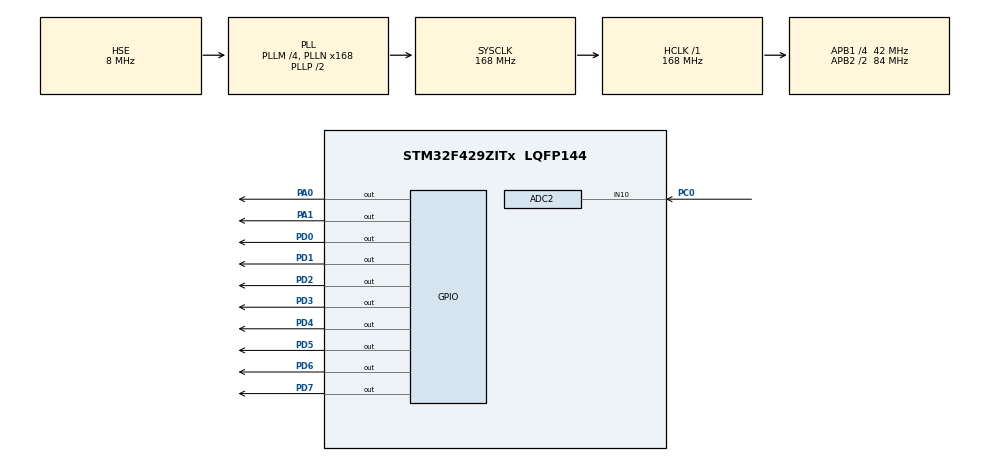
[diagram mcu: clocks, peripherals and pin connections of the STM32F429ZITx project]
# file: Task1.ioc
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ADC2.Channel-1\#ChannelRegularConversion=ADC_CHANNEL_10
ADC2.ContinuousConvMode=ENABLE
ADC2.InjNumberOfConversion=0
ADC2.NbrOfConversion=1
ADC2.NbrOfConversionFlag=1
ADC2.Rank-1\#ChannelRegularConversion=1
ADC2.SamplingTime-1\#ChannelRegularConversion=ADC_SAMPLETIME_3CYCLES
Mcu.Family=STM32F4
Mcu.Name=STM32F429ZITx
Mcu.Package=LQFP144
NVIC.ADC_IRQn=true\:0\:0\:false\:false\:true\:true\:true
NVIC.PriorityGroup=NVIC_PRIORITYGROUP_4
PA0/WKUP.GPIO_Speed=GPIO_SPEED_FREQ_VERY_HIGH
PA0/WKUP.Signal=GPIO_Output
PA1.GPIO_Speed=GPIO_SPEED_FREQ_VERY_HIGH
PA1.Signal=GPIO_Output
PC0.Signal=ADCx_IN10
PD0.Signal=GPIO_Output
PD1.Signal=GPIO_Output
PD2.Signal=GPIO_Output
PD3.Signal=GPIO_Output
PD4.Signal=GPIO_Output
PD5.Signal=GPIO_Output
PD6.Signal=GPIO_Output
PD7.Signal=GPIO_Output
PH0/OSC_IN.Mode=HSE-External-Oscillator
PH0/OSC_IN.Signal=RCC_OSC_IN
PH1/OSC_OUT.Mode=HSE-External-Oscillator
PH1/OSC_OUT.Signal=RCC_OSC_OUT
ProjectManager.HeapSize=0x200
ProjectManager.StackSize=0x400
ProjectManager.TargetToolchain=EWARM V8.32
RCC.48MHZClocksFreq_Value=84000000
RCC.AHBFreq_Value=168000000
RCC.APB1CLKDivider=RCC_HCLK_DIV4
RCC.APB1Freq_Value=42000000
RCC.APB1TimFreq_Value=84000000
RCC.APB2CLKDivider=RCC_HCLK_DIV2
RCC.APB2Freq_Value=84000000
RCC.APB2TimFreq_Value=168000000
RCC.CortexFreq_Value=168000000
RCC.HCLKFreq_Value=168000000
RCC.HSE_VALUE=8000000
RCC.HSI_VALUE=16000000
RCC.LSE_VALUE=32768
RCC.PLLM=4
RCC.PLLN=168
RCC.PLLSourceVirtual=RCC_PLLSOURCE_HSE
RCC.SYSCLKFreq_VALUE=168000000
RCC.SYSCLKSource=RCC_SYSCLKSOURCE_PLLCLK
RCC.VCOOutputFreq_Value=336000000
SH.ADCx_IN10.0=ADC2_IN10,IN10
board=custom

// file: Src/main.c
/* USER CODE BEGIN Header */
/**
  ******************************************************************************
  * @file           : main.c
  * @brief          : Main program body
  ******************************************************************************
  * @attention
  *
  * <h2><center>&copy; Copyright (c) 2020 STMicroelectronics.
  * All rights reserved.</center></h2>
  *
  * This software component is licensed by ST under BSD 3-Clause license,
  * the "License"; You may not use this file except in compliance with the
  * License. You may obtain a copy of the License at:
  *                        opensource.org/licenses/BSD-3-Clause
  *
  ******************************************************************************
  */
/* USER CODE END Header */

#include "main.h"

ADC_HandleTypeDef hadc2;

void SystemClock_Config(void);
static void MX_GPIO_Init(void);
static void MX_ADC2_Init(void);

/* USER CODE BEGIN 0 */
void command(char i)
{
 GPIOD-> ODR = i; //put data on output Port
 HAL_GPIO_WritePin(GPIOA,GPIO_PIN_0, GPIO_PIN_RESET); // D/I=LOW : send instruction
 HAL_GPIO_WritePin(GPIOA,GPIO_PIN_1, GPIO_PIN_SET); // E-> HIGH
 HAL_Delay(1);
 HAL_GPIO_WritePin(GPIOA,GPIO_PIN_1, GPIO_PIN_RESET); // E-> LOW
}
/**********************************************************/
void write(char i)
{
 GPIOD-> ODR = i; //put data on output Port
 HAL_GPIO_WritePin(GPIOA,GPIO_PIN_0, GPIO_PIN_SET); // D/I=high : send data
 HAL_GPIO_WritePin(GPIOA,GPIO_PIN_1, GPIO_PIN_SET); // E-> HIGH
 HAL_Delay(1);
 HAL_GPIO_WritePin(GPIOA,GPIO_PIN_1, GPIO_PIN_RESET); // E-> LOW
}
/**********************************************************/
void init()
{
 HAL_GPIO_WritePin(GPIOA,GPIO_PIN_1, GPIO_PIN_RESET); // E-> LOW
 HAL_Delay(100); //Wait >40 msec after power is applied
 command(0x30); //command 0x30 = Wake up
 HAL_Delay(30); //must wait 5ms, busy flag not available
 command(0x30); //command 0x30 = Wake up #2
 HAL_Delay(10); //must wait 160us, busy flag not available
 command(0x30); //command 0x30 = Wake up #3
 HAL_Delay(10); //must wait 160us, busy flag not available
 command(0x38); //Function set: 8-bit/2-line
 HAL_Delay(10); //must wait 160us, busy flag not available
 command(0x10); //Set cursor
 HAL_Delay(10); //must wait 160us, busy flag not available
 command(0x0c); //Display ON; Cursor ON
 HAL_Delay(10); //must wait 160us, busy flag not available
 command(0x06); //Entry mode set
}
void clear(void) {
 GPIOD->ODR = 0x0000;
 HAL_GPIO_WritePin(GPIOA,GPIO_PIN_0, GPIO_PIN_SET); // D/I=high : send data
 HAL_GPIO_WritePin(GPIOA,GPIO_PIN_1, GPIO_PIN_SET); // E-> HIGH
 HAL_Delay(1);
 HAL_GPIO_WritePin(GPIOA,GPIO_PIN_1, GPIO_PIN_RESET); // E-> LOW
}
/**********************************************************/
void write_string(char *display_string) {
  clear();
  uint8_t flag = 0;
  for(uint8_t i = 0; i < 16; i++){
    if(flag == 0){
      write(display_string[i]);
    }
    else {
      write(0x00);
    }
    if(display_string[i] == '\0'){
      flag = 1;
    }
  }
}
/* USER CODE END 0 */

int main(void)
{

  /* MCU Configuration--------------------------------------------------------*/

  /* Reset of all peripherals, Initializes the Flash interface and the Systick. */
  HAL_Init();

  /* Configure the system clock */
  SystemClock_Config();

  /* Initialize all configured peripherals */
  MX_GPIO_Init();
  MX_ADC2_Init();
  /* USER CODE BEGIN 2 */
  init();
  write_string("Lab8\0");
  HAL_Delay(200);
  clear();
  /* USER CODE END 2 */

  /* Infinite loop */
  /* USER CODE BEGIN WHILE */
  while (1)
  {

  char data_array[4] = { 0x30, 0x30, 0x30, '\0' };
  for(uint8_t i = 0; i < 10; i++) {
    if(data_array[0] == 0x3A) {
      data_array[0] = 0x30;
    }
    for(uint8_t j = 0; j < 10; j++) {
      if(data_array[1] == 0x3A) {
      data_array[1] = 0x30;
      }
      for(uint8_t k = 0; k < 10; k++) {
        if(data_array[2] == 0x3A) {
          data_array[2] = 0x30;
        }
        //write_string(data_array);
        write(data_array[2]);
        data_array[2]++;
        HAL_Delay(1000); // 1 second delay

        if(data_array[0] == 0x32 && data_array[1] == 0x31 && data_array[2] == 0x32){
          return;
        }
        clear();
      }
      write(data_array[1]);
      data_array[1]++;
    }
    write(data_array[0]);
    data_array[0]++;
  }
    /* USER CODE END WHILE */

  }
}

void SystemClock_Config(void)
{
  RCC_OscInitTypeDef RCC_OscInitStruct = {0};
  RCC_ClkInitTypeDef RCC_ClkInitStruct = {0};

  /** Configure the main internal regulator output voltage
  */
  __HAL_RCC_PWR_CLK_ENABLE();
  __HAL_PWR_VOLTAGESCALING_CONFIG(PWR_REGULATOR_VOLTAGE_SCALE1);
  /** Initializes the CPU, AHB and APB busses clocks
  */
  RCC_OscInitStruct.OscillatorType = RCC_OSCILLATORTYPE_HSE;
  RCC_OscInitStruct.HSEState = RCC_HSE_ON;
  RCC_OscInitStruct.PLL.PLLState = RCC_PLL_ON;
  RCC_OscInitStruct.PLL.PLLSource = RCC_PLLSOURCE_HSE;
  RCC_OscInitStruct.PLL.PLLM = 4;
  RCC_OscInitStruct.PLL.PLLN = 168;
  RCC_OscInitStruct.PLL.PLLP = RCC_PLLP_DIV2;
  RCC_OscInitStruct.PLL.PLLQ = 4;
  if (HAL_RCC_OscConfig(&RCC_OscInitStruct) != HAL_OK)
  {
    Error_Handler();
  }
  /** Initializes the CPU, AHB and APB busses clocks
  */
  RCC_ClkInitStruct.ClockType = RCC_CLOCKTYPE_HCLK|RCC_CLOCKTYPE_SYSCLK
                              |RCC_CLOCKTYPE_PCLK1|RCC_CLOCKTYPE_PCLK2;
  RCC_ClkInitStruct.SYSCLKSource = RCC_SYSCLKSOURCE_PLLCLK;
  RCC_ClkInitStruct.AHBCLKDivider = RCC_SYSCLK_DIV1;
  RCC_ClkInitStruct.APB1CLKDivider = RCC_HCLK_DIV4;
  RCC_ClkInitStruct.APB2CLKDivider = RCC_HCLK_DIV2;

  if (HAL_RCC_ClockConfig(&RCC_ClkInitStruct, FLASH_LATENCY_5) != HAL_OK)
  {
    Error_Handler();
  }
}

static void MX_ADC2_Init(void)
{

  ADC_ChannelConfTypeDef sConfig = {0};

  /** Configure the global features of the ADC (Clock, Resolution, Data Alignment and number of conversion)
  */
  hadc2.Instance = ADC2;
  hadc2.Init.ClockPrescaler = ADC_CLOCK_SYNC_PCLK_DIV4;
  hadc2.Init.Resolution = ADC_RESOLUTION_12B;
  hadc2.Init.ScanConvMode = DISABLE;
  hadc2.Init.ContinuousConvMode = ENABLE;
  hadc2.Init.DiscontinuousConvMode = DISABLE;
  hadc2.Init.ExternalTrigConvEdge = ADC_EXTERNALTRIGCONVEDGE_NONE;
  hadc2.Init.ExternalTrigConv = ADC_SOFTWARE_START;
  hadc2.Init.DataAlign = ADC_DATAALIGN_RIGHT;
  hadc2.Init.NbrOfConversion = 1;
  hadc2.Init.DMAContinuousRequests = DISABLE;
  hadc2.Init.EOCSelection = ADC_EOC_SINGLE_CONV;
  if (HAL_ADC_Init(&hadc2) != HAL_OK)
  {
    Error_Handler();
  }
  /** Configure for the selected ADC regular channel its corresponding rank in the sequencer and its sample time.
  */
  sConfig.Channel = ADC_CHANNEL_10;
  sConfig.Rank = 1;
  sConfig.SamplingTime = ADC_SAMPLETIME_3CYCLES;
  if (HAL_ADC_ConfigChannel(&hadc2, &sConfig) != HAL_OK)
  {
    Error_Handler();
  }

}

static void MX_GPIO_Init(void)
{
  GPIO_InitTypeDef GPIO_InitStruct = {0};

  /* GPIO Ports Clock Enable */
  __HAL_RCC_GPIOH_CLK_ENABLE();
  __HAL_RCC_GPIOC_CLK_ENABLE();
  __HAL_RCC_GPIOA_CLK_ENABLE();
  __HAL_RCC_GPIOD_CLK_ENABLE();

  /*Configure GPIO pin Output Level */
  HAL_GPIO_WritePin(GPIOA, GPIO_PIN_0|GPIO_PIN_1, GPIO_PIN_RESET);

  /*Configure GPIO pin Output Level */
  HAL_GPIO_WritePin(GPIOD, GPIO_PIN_0|GPIO_PIN_1|GPIO_PIN_2|GPIO_PIN_3
                          |GPIO_PIN_4|GPIO_PIN_5|GPIO_PIN_6|GPIO_PIN_7, GPIO_PIN_RESET);

  /*Configure GPIO pins : PA0 PA1 */
  GPIO_InitStruct.Pin = GPIO_PIN_0|GPIO_PIN_1;
  GPIO_InitStruct.Mode = GPIO_MODE_OUTPUT_PP;
  GPIO_InitStruct.Pull = GPIO_NOPULL;
  GPIO_InitStruct.Speed = GPIO_SPEED_FREQ_VERY_HIGH;
  HAL_GPIO_Init(GPIOA, &GPIO_InitStruct);

  /*Configure GPIO pins : PD0 PD1 PD2 PD3
                           PD4 PD5 PD6 PD7 */
  GPIO_InitStruct.Pin = GPIO_PIN_0|GPIO_PIN_1|GPIO_PIN_2|GPIO_PIN_3
                          |GPIO_PIN_4|GPIO_PIN_5|GPIO_PIN_6|GPIO_PIN_7;
  GPIO_InitStruct.Mode = GPIO_MODE_OUTPUT_PP;
  GPIO_InitStruct.Pull = GPIO_NOPULL;
  GPIO_InitStruct.Speed = GPIO_SPEED_FREQ_LOW;
  HAL_GPIO_Init(GPIOD, &GPIO_InitStruct);

}

void Error_Handler(void)
{
}

/************************ (C) COPYRIGHT STMicroelectronics *****END OF FILE****/
